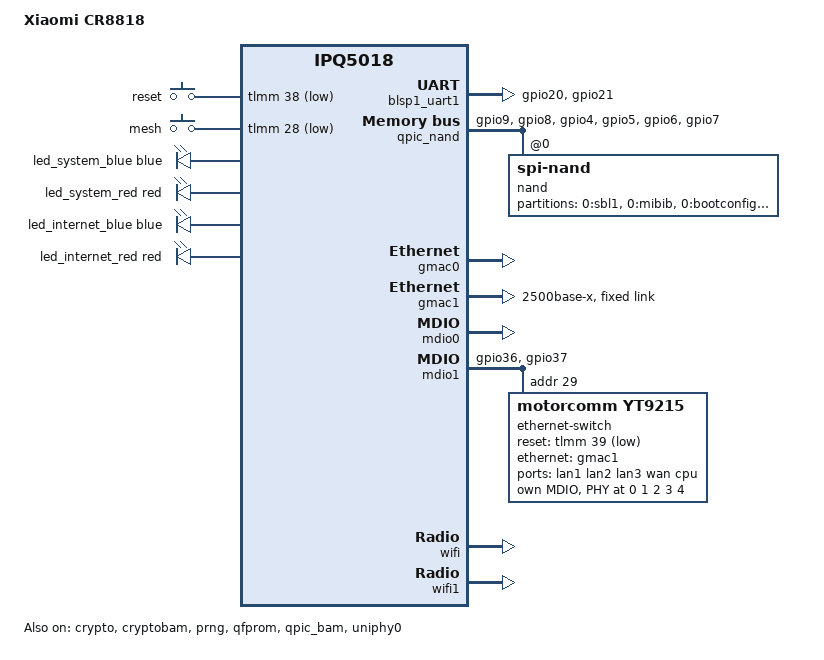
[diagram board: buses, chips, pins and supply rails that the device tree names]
/dts-v1/;

#include "ipq5018.dtsi"
#include "ipq5018-ess.dtsi"
#include "ipq5018-qcn6122.dtsi"

#include <dt-bindings/gpio/gpio.h>
#include <dt-bindings/input/input.h>
#include <dt-bindings/leds/common.h>

/ {
	model = "Xiaomi CR8818";
	compatible = "xiaomi,cr8818", "qcom,ipq5018";

	aliases {
		label-mac-device = &gmac0;
		led-boot = &led_system_blue;
		led-failsafe = &led_system_red;
		led-running = &led_system_blue;
		led-upgrade = &led_system_red;
		serial0 = &blsp1_uart1;
	};

	chosen {
		/* Xiaomi's U-boot sets bootargs to:
		 * ubi.mtd=rootfs_1 root=mtd:ubi_rootfs rootfstype=squashfs rootwait uart_en=1
		 * so we need to override and set ubi.mtd=rootfs
		 */
		bootargs-append = " ubi.mtd=rootfs root=/dev/ubiblock0_1 coherent_pool=2M";
		stdout-path = "serial0:115200n8";
	};

	keys {
		compatible = "gpio-keys";

		pinctrl-0 = <&button_pins>;
		pinctrl-names = "default";

		reset-button {
			label = "reset";
			gpios = <&tlmm 38 GPIO_ACTIVE_LOW>;
			linux,code = <KEY_RESTART>;
		};

		mesh-button {
			label = "mesh";
			gpios = <&tlmm 28 GPIO_ACTIVE_LOW>;
			linux,code = <BTN_0>;
		};
	};

	leds {
		compatible = "gpio-leds";

		pinctrl-0 = <&leds_pins>;
		pinctrl-names = "default";

		led_system_blue: system-blue {
			color = <LED_COLOR_ID_BLUE>;
			function = LED_FUNCTION_POWER;
			gpio = <&tlmm 24 GPIO_ACTIVE_HIGH>;
		};

		led_system_red: system-red {
			color = <LED_COLOR_ID_RED>;
			function = LED_FUNCTION_POWER;
			gpio = <&tlmm 25 GPIO_ACTIVE_HIGH>;
		};

		led_internet_blue: internet-blue {
			color = <LED_COLOR_ID_BLUE>;
			function = LED_FUNCTION_WAN;
			gpio = <&tlmm 26 GPIO_ACTIVE_HIGH>;
		};

		led_internet_red: internet-red {
			color = <LED_COLOR_ID_RED>;
			function = LED_FUNCTION_WAN;
			gpio = <&tlmm 27 GPIO_ACTIVE_HIGH>;
		};
	};
};

&sleep_clk {
	clock-frequency = <32000>;
};

&xo_board_clk {
	clock-div = <4>;
	clock-mult = <1>;
};

&blsp1_uart1 {
	status = "okay";

	pinctrl-0 = <&serial_0_pins>;
	pinctrl-names = "default";
};

&crypto {
	status = "okay";
};

&cryptobam {
	status = "okay";
};

&prng {
	status = "okay";
};

&qfprom {
	status = "okay";
};

&qpic_bam {
	status = "okay";
};

&qpic_nand {
	pinctrl-0 = <&qpic_pins>;
	pinctrl-names = "default";
	status = "okay";

	nand@0 {
		compatible = "spi-nand";
		reg = <0>;
		nand-ecc-engine = <&qpic_nand>;
		nand-bus-width = <8>;

		partitions {
			compatible = "fixed-partitions";
			#address-cells = <1>;
			#size-cells = <1>;

			partition@0 {
				label = "0:sbl1";
				reg = <0x00000000 0x80000>;
				read-only;
			};

			partition@80000 {
				label = "0:mibib";
				reg = <0x00080000 0x80000>;
				read-only;
			};

			partition@100000 {
				label = "0:bootconfig";
				reg = <0x00100000 0x40000>;
				read-only;
			};

			partition@140000 {
				label = "0:bootconfig1";
				reg = <0x00140000 0x40000>;
				read-only;
			};

			partition@180000 {
				label = "0:qsee";
				reg = <0x00180000 0x100000>;
				read-only;
			};

			partition@280000 {
				label = "0:qsee_1";
				reg = <0x00280000 0x100000>;
				read-only;
			};

			partition@380000 {
				label = "0:devcfg";
				reg = <0x00380000 0x40000>;
				read-only;
			};

			partition@3c0000 {
				label = "0:devcfg_1";
				reg = <0x003c0000 0x40000>;
				read-only;
			};

			partition@400000 {
				label = "0:cdt";
				reg = <0x00400000 0x40000>;
				read-only;
			};

			partition@440000 {
				label = "0:cdt_1`";
				reg = <0x00440000 0x40000>;
				read-only;
			};

			partition@480000 {
				label = "0:appsblenv";
				reg = <0x00480000 0x80000>;
			};

			partition@500000 {
				label = "0:appsbl";
				reg = <0x00500000 0x140000>;
				read-only;
			};

			partition@640000 {
				label = "0:appsbl_1";
				reg = <0x00640000 0x140000>;
				read-only;
			};

			partition@780000 {
				label = "0:art";
				reg = <0x00780000 0x100000>;
				read-only;

				art: nvmem-layout {
					compatible = "fixed-layout";
					#address-cells = <1>;
					#size-cells = <1>;

					mac_addr_gmac0: macaddr@0 {
						reg = <0x0 0x6>;
					};

					mac_addr_gmac1: macaddr@6 {
						reg = <0x6 0x6>;
					};
				};
			};

			partition@880000 {
				label = "0:training";
				reg = <0x00880000 0x80000>;
				read-only;
			};

			partition@900000 {
				label = "bdata";
				reg = <0x00900000 0x80000>;
			};

			partition@980000 {
				label = "crash";
				reg = <0x00980000 0x80000>;
			};

			partition@a00000 {
				label = "crash_syslog";
				reg = <0x00a00000 0x80000>;
			};

			partition@a80000 {
				label = "ubi_kernel";
				reg = <0x00a80000 0x2400000>;
			};

			partition@2e80000 {
				label = "rootfs";
				reg = <0x02e80000 0x5180000>;
			};
		};
	};
};

/*
* ===============================================================
*     _______________________             _____________________
*    |        IPQ5018        |           |        YT9215       |
*    | +------+   +--------+ |           | +------+   +------+ |
*    | | MAC0 |---| GE Phy |-+--- MDI ---+ | Phy4 |---| Phy0 | |
*    | +------+   +--------+ |           | +------+   | Phy1 | |
*    | +------+   +--------+ |           | +------+   | Phy2 | |
*    | | MAC1 |---| Uniphy |-+-- SGMII+--+ | Phy8 |---| Phy3 | |
*    | +------+   +--------+ |           | +------+   +------+ |
*    |_______________________|           |_____________________|
*
* ===============================================================
*/

&uniphy0 {
	status = "okay";

	assigned-clocks = <&uniphy0 UNIPHY_CLK_REF>;
	assigned-clock-rates = <UNIPHY_REFCLK_50MHZ>;
};

// MAC0 -> GE Phy
&gmac0 {
	status = "okay";

	nvmem-cells = <&mac_addr_gmac0 0>;
	nvmem-cell-names = "mac-address";
};

// MAC1 ---SGMII---> YT9215 Phy8
&gmac1 {
	status = "okay";

	phy-mode = "2500base-x";

	nvmem-cells = <&mac_addr_gmac1 0>;
	nvmem-cell-names = "mac-address";

	fixed-link {
		speed = <2500>;
		full-duplex;
		pause;
		asym-pause;
	};
};

&mdio0 {
	status = "okay";
};

// IPQ5018 GE Phy -> YT9215 Phy4
&ge_phy {
	qcom,dac-preset-short-cable;
};

&mdio1 {
	status = "okay";

	pinctrl-0 = <&mdio1_pins>;
	pinctrl-names = "default";

	// YT9215 switch
	ethernet-switch@1d {
		compatible = "motorcomm,yt9215";
		reg = <0x1d>;

		reset-gpios = <&tlmm 39 GPIO_ACTIVE_LOW>;
		reset-assert-us = <10000>;
		reset-deassert-us = <50000>;

		mdio {
			#address-cells = <1>;
			#size-cells = <0>;

			sw_phy0: phy@0 {
				reg = <0x0>;
			};

			sw_phy1: phy@1 {
				reg = <0x1>;
			};

			sw_phy2: phy@2 {
				reg = <0x2>;
			};

			sw_phy3: phy@3 {
				reg = <0x3>;
			};

			sw_phy4: phy@4 {
				reg = <0x4>;
			};
		};

		ports {
			#address-cells = <1>;
			#size-cells = <0>;
			
			port@0 {
				reg = <0>;
				label = "lan1";
				phy-mode = "internal";
				phy-handle = <&sw_phy0>;
			};

			port@1 {
				reg = <1>;
				label = "lan2";
				phy-mode = "internal";
				phy-handle = <&sw_phy1>;
			};

			port@2 {
				reg = <2>;
				label = "lan3";
				phy-mode = "internal";
				phy-handle = <&sw_phy2>;
			};

			port@3 {
				reg = <3>;
				label = "wan";
				phy-mode = "internal";
				phy-handle = <&sw_phy3>;
			};

			port@4 {
				reg = <4>;
				label = "cpu";
				phy-mode = "internal";
				phy-handle = <&sw_phy4>;
			};

			port@8 {
				reg = <8>;
				phy-mode = "2500base-x";
				ethernet = <&gmac1>;

				fixed-link {
					speed = <2500>;
					full-duplex;
					pause;
					asym-pause;
				};
			};
		};
	};
};


&tlmm {
	button_pins: button-state {
		pins = "gpio38", "gpio28";
		function = "gpio";
		drive-strength = <8>;
		bias-pull-up;
	};

	leds_pins: leds-state {
		pins = "gpio24", "gpio25", "gpio26", "gpio27";
		function = "gpio";
		drive-strength = <8>;
		bias-pull-down;
	};

	mdio1_pins: mdio-state {
		mdc-pins {
			pins = "gpio36";
			function = "mdc";
			drive-strength = <8>;
			bias-pull-up;
		};

		mdio-pins {
			pins = "gpio37";
			function = "mdio";
			drive-strength = <8>;
			bias-pull-up;
		};
	};

	qpic_pins: qpic-state {
		clock-pins {
			pins = "gpio9";
			function = "qspi_clk";
			drive-strength = <8>;
			bias-disable;
		};

		cs-pins {
			pins = "gpio8";
			function = "qspi_cs";
			drive-strength = <8>;
			bias-disable;
		};

		data-pins {
			pins = "gpio4", "gpio5", "gpio6", "gpio7";
			function = "qspi_data";
			drive-strength = <8>;
			bias-disable;
		};
	};

	serial_0_pins: uart0-state {
		pins = "gpio20", "gpio21";
		function = "blsp0_uart0";
		bias-disable;
	};
};

/*
 * ath11k Wi-Fi consumes too large memory spaces and too few spaces are
 * available for users. To prevent OOM when using LuCI or other softwares,
 * disable Wi-Fi related peripherals at the moment.
 */
&wifi {
	status = "okay";

	qcom,rproc = <&q6_wcss_pd1>;
	qcom,ath11k-calibration-variant = "Xiaomi-CR8818";
	qcom,ath11k-fw-memory-mode = <2>;
	qcom,bdf-addr = <0x4c400000>;
};

&wifi1 {
	status = "okay";

	qcom,rproc = <&q6_wcss_pd2>;
	qcom,userpd-subsys-name = "q6v5_wcss_userpd2";
	qcom,ath11k-calibration-variant = "Xiaomi-CR8818";
	qcom,ath11k-fw-memory-mode = <2>;
	qcom,bdf-addr = <0x4d100000>;
	qcom,m3-dump-addr = <0x4df00000>;
};
